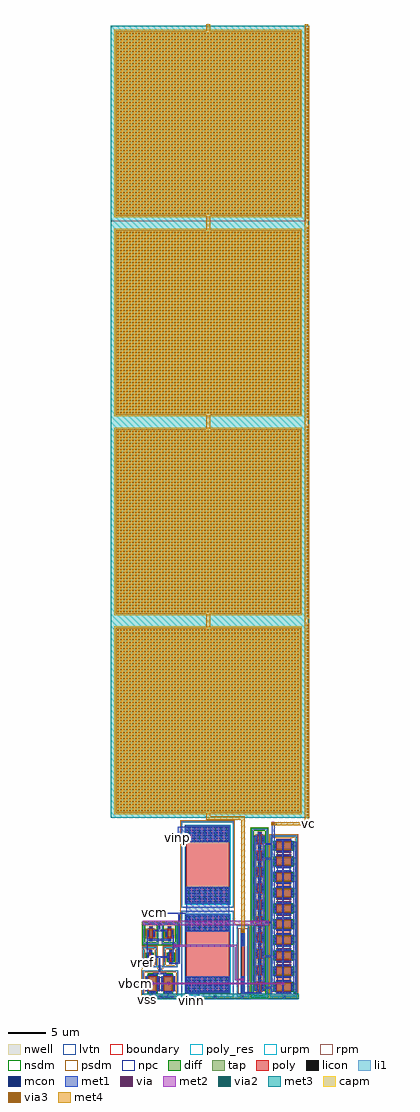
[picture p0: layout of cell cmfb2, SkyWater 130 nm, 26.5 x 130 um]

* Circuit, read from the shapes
.subckt cmfb2 vbcm vc vcm vdd vinn vinp vref vss
XM1 n1 vbcm vss vss sky130_fd_pr__nfet_01v8_lvt w=1 l=2 m=2
XM2 n1 vref n2 vss sky130_fd_pr__nfet_01v8_lvt w=1 l=0.25
XM3 n3 vcm n1 vss sky130_fd_pr__nfet_01v8_lvt w=1 l=0.25
XM4 vss vbcm vc vss sky130_fd_pr__nfet_01v8_lvt w=1 l=2 m=10
XM5 vdd n2 n2 vdd sky130_fd_pr__pfet_01v8_lvt w=1 l=0.5
XM6 n3 n2 vdd vdd sky130_fd_pr__pfet_01v8_lvt w=1 l=0.5
XM7 vc n3 vdd vdd sky130_fd_pr__pfet_01v8_lvt w=1 l=0.5 m=10
XC8 n4 vc sky130_fd_pr__cap_mim_m3_1 w=25 l=25 m=4
XR9 vcm vinn vss sky130_fd_pr__res_xhigh_po w=5.73 l=5.92
XR10 vinp vcm vss sky130_fd_pr__res_xhigh_po w=5.73 l=5.92
XR11 n4 n3 vss sky130_fd_pr__res_high_po w=0.35 l=4
.ends

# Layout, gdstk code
from math import pi, radians
import gdstk
lib = gdstk.Library(unit=1e-6, precision=1e-09)
def R(c, l, rs):  # rectangles x0, y0, x1, y1
    for r in rs: c.add(gdstk.rectangle(r[:2], r[2:], *l))
def A(c, l, x, y, w, h, nx, ny, dx, dy):  # array of equal rectangles
    R(c, l, [(x+i*dx, y+j*dy, x+i*dx+w, y+j*dy+h) for i in range(nx) for j in range(ny)])
nwell = (64, 20)
diff = (65, 20)
tap = (65, 44)
poly_res = (66, 13)
poly = (66, 20)
licon = (66, 44)
li1 = (67, 20)
mcon = (67, 44)
met1 = (68, 20)
via = (68, 44)
met2 = (69, 20)
via2 = (69, 44)
met3 = (70, 20)
via3 = (70, 44)
met4 = (71, 20)
urpm = (79, 20)
rpm = (86, 20)
capm = (89, 44)
nsdm = (93, 44)
psdm = (94, 20)
npc = (95, 20)
lvtn = (125, 44)
boundary = (235, 4)

sky130_fd_pr__pfet_01v8_ = lib.new_cell('sky130_fd_pr__pfet_01v8_lvt_X3YSY6')
R(sky130_fd_pr__pfet_01v8_, nwell, [(-1.23,-1.595,1.23,1.595)])
R(sky130_fd_pr__pfet_01v8_, diff, [(-0.54,-0.5,0.54,0.5)])
R(sky130_fd_pr__pfet_01v8_, tap, [(-1.05,-1.415,1.05,-1.245), (-1.05,-1.245,-0.88,1.245), (0.88,-1.245,1.05,1.245), (-1.05,1.245,1.05,1.415)])
R(sky130_fd_pr__pfet_01v8_, poly, [(-0.25,-0.985,0.25,0.985)])
A(sky130_fd_pr__pfet_01v8_, licon, -0.425, -1.415, 0.17, 0.17, 3, 2, 0.34, 2.66)
A(sky130_fd_pr__pfet_01v8_, licon, -1.05, -0.935, 0.17, 0.17, 1, 6, 0, 0.34)
A(sky130_fd_pr__pfet_01v8_, licon, 0.88, -0.935, 0.17, 0.17, 1, 6, 0, 0.34)
A(sky130_fd_pr__pfet_01v8_, licon, -0.48, -0.425, 0.17, 0.17, 1, 3, 0, 0.34)
A(sky130_fd_pr__pfet_01v8_, licon, 0.31, -0.425, 0.17, 0.17, 1, 3, 0, 0.34)
R(sky130_fd_pr__pfet_01v8_, licon, [(-0.085,-0.905,0.085,-0.735), (-0.085,0.735,0.085,0.905)])
R(sky130_fd_pr__pfet_01v8_, li1, [(-1.05,-1.415,1.05,-1.245), (-1.05,-1.245,-0.88,1.245), (0.88,-1.245,1.05,1.245), (-0.25,-0.905,0.25,-0.735), (-0.48,-0.52,-0.31,0.52), (0.31,-0.52,0.48,0.52), (-0.25,0.735,0.25,0.905), (-1.05,1.245,1.05,1.415)])
R(sky130_fd_pr__pfet_01v8_, mcon, [(-0.085,-0.905,0.085,-0.735), (-0.48,-0.265,-0.31,-0.095), (0.31,-0.265,0.48,-0.095), (-0.48,0.095,-0.31,0.265), (0.31,0.095,0.48,0.265), (-0.085,0.735,0.085,0.905)])
R(sky130_fd_pr__pfet_01v8_, met1, [(-0.23,-0.935,0.23,-0.705), (-0.51,-0.5,-0.28,0.5), (0.28,-0.5,0.51,0.5), (-0.23,0.705,0.23,0.935)])
R(sky130_fd_pr__pfet_01v8_, nsdm, [(-1.175,-1.54,1.175,-1.12), (-1.175,-1.12,-0.755,1.12), (0.755,-1.12,1.175,1.12), (-1.175,1.12,1.175,1.54)])
R(sky130_fd_pr__pfet_01v8_, psdm, [(-0.665,-0.625,0.665,0.625)])
R(sky130_fd_pr__pfet_01v8_, npc, [(-0.185,-1.005,0.185,-0.635), (-0.185,0.635,0.185,1.005)])
R(sky130_fd_pr__pfet_01v8_, lvtn, [(-0.43,-0.68,0.43,0.68)])
R(sky130_fd_pr__pfet_01v8_, boundary, [(-0.965,-1.33,0.965,1.33)])

sky130_fd_pr__nfet_01v8_ = lib.new_cell('sky130_fd_pr__nfet_01v8_lvt_BSMWRE')
R(sky130_fd_pr__nfet_01v8_, diff, [(-1.29,-1.545,1.29,-0.545), (-1.29,0.545,1.29,1.545)])
R(sky130_fd_pr__nfet_01v8_, tap, [(-1.8,-2.415,1.8,-2.245), (-1.8,-2.245,-1.63,2.245), (1.63,-2.245,1.8,2.245), (-1.8,2.245,1.8,2.415)])
R(sky130_fd_pr__nfet_01v8_, poly, [(-1,-1.985,1,-0.105), (-1,0.105,1,1.985)])
A(sky130_fd_pr__nfet_01v8_, licon, -1.275, -2.415, 0.17, 0.17, 8, 2, 0.34, 4.66)
A(sky130_fd_pr__nfet_01v8_, licon, -0.765, -1.905, 0.17, 0.17, 5, 2, 0.34, 1.55)
A(sky130_fd_pr__nfet_01v8_, licon, -1.8, -1.785, 0.17, 0.17, 1, 11, 0, 0.34)
A(sky130_fd_pr__nfet_01v8_, licon, 1.63, -1.785, 0.17, 0.17, 1, 11, 0, 0.34)
A(sky130_fd_pr__nfet_01v8_, licon, -1.23, -1.47, 0.17, 0.17, 1, 3, 0, 0.34)
A(sky130_fd_pr__nfet_01v8_, licon, 1.06, -1.47, 0.17, 0.17, 1, 3, 0, 0.34)
A(sky130_fd_pr__nfet_01v8_, licon, -0.765, 0.185, 0.17, 0.17, 5, 2, 0.34, 1.55)
A(sky130_fd_pr__nfet_01v8_, licon, -1.23, 0.62, 0.17, 0.17, 1, 3, 0, 0.34)
A(sky130_fd_pr__nfet_01v8_, licon, 1.06, 0.62, 0.17, 0.17, 1, 3, 0, 0.34)
R(sky130_fd_pr__nfet_01v8_, li1, [(-1.8,-2.415,1.8,-2.245), (-1.8,-2.245,-1.63,2.245), (1.63,-2.245,1.8,2.245), (-1,-1.905,1,-1.735), (-1.23,-1.565,-1.06,-0.525), (1.06,-1.565,1.23,-0.525), (-1,-0.355,1,-0.185), (-1,0.185,1,0.355), (-1.23,0.525,-1.06,1.565), (1.06,0.525,1.23,1.565), (-1,1.735,1,1.905), (-1.8,2.245,1.8,2.415)])
A(sky130_fd_pr__nfet_01v8_, mcon, -0.805, -1.905, 0.17, 0.17, 5, 2, 0.36, 1.55)
A(sky130_fd_pr__nfet_01v8_, mcon, -0.805, 0.185, 0.17, 0.17, 5, 2, 0.36, 1.55)
R(sky130_fd_pr__nfet_01v8_, mcon, [(-1.23,-1.31,-1.06,-1.14), (1.06,-1.31,1.23,-1.14), (-1.23,-0.95,-1.06,-0.78), (1.06,-0.95,1.23,-0.78), (-1.23,0.78,-1.06,0.95), (1.06,0.78,1.23,0.95), (-1.23,1.14,-1.06,1.31), (1.06,1.14,1.23,1.31)])
R(sky130_fd_pr__nfet_01v8_, met1, [(-0.98,-1.935,0.98,-1.705), (-1.26,-1.545,-1.03,-0.545), (1.03,-1.545,1.26,-0.545), (-0.98,-0.385,0.98,-0.155), (-0.98,0.155,0.98,0.385), (-1.26,0.545,-1.03,1.545), (1.03,0.545,1.26,1.545), (-0.98,1.705,0.98,1.935)])
R(sky130_fd_pr__nfet_01v8_, nsdm, [(-1.415,-1.67,1.415,-0.42), (-1.415,0.42,1.415,1.67)])
R(sky130_fd_pr__nfet_01v8_, psdm, [(-1.925,-2.54,1.925,-2.12), (-1.925,-2.12,-1.505,2.12), (1.505,-2.12,1.925,2.12), (-1.925,2.12,1.925,2.54)])
R(sky130_fd_pr__nfet_01v8_, npc, [(-0.865,-2.005,0.865,-1.635), (-0.865,-0.455,0.865,0.455), (-0.865,1.635,0.865,2.005)])
R(sky130_fd_pr__nfet_01v8_, lvtn, [(-1.18,-1.725,1.18,-0.365), (-1.18,0.365,1.18,1.725)])
R(sky130_fd_pr__nfet_01v8_, boundary, [(-1.715,-2.33,1.715,2.33)])

c_sky130_fd_pr__nfet_01v8_ = lib.new_cell('sky130_fd_pr__nfet_01v8_lvt_EA9ZG2')
R(c_sky130_fd_pr__nfet_01v8_, diff, [(-0.415,-0.5,0.415,0.5)])
R(c_sky130_fd_pr__nfet_01v8_, tap, [(-0.925,-1.37,0.925,-1.2), (-0.925,-1.2,-0.755,1.2), (0.755,-1.2,0.925,1.2), (-0.925,1.2,0.925,1.37)])
R(c_sky130_fd_pr__nfet_01v8_, poly, [(-0.165,-0.94,0.165,-0.61), (-0.125,-0.61,0.125,0.61), (-0.165,0.61,0.165,0.94)])
A(c_sky130_fd_pr__nfet_01v8_, licon, -0.425, -1.37, 0.17, 0.17, 3, 2, 0.34, 2.57)
A(c_sky130_fd_pr__nfet_01v8_, licon, -0.925, -0.765, 0.17, 0.17, 1, 5, 0, 0.34)
A(c_sky130_fd_pr__nfet_01v8_, licon, 0.755, -0.765, 0.17, 0.17, 1, 5, 0, 0.34)
A(c_sky130_fd_pr__nfet_01v8_, licon, -0.355, -0.425, 0.17, 0.17, 1, 3, 0, 0.34)
A(c_sky130_fd_pr__nfet_01v8_, licon, 0.185, -0.425, 0.17, 0.17, 1, 3, 0, 0.34)
R(c_sky130_fd_pr__nfet_01v8_, licon, [(-0.085,-0.86,0.085,-0.69), (-0.085,0.69,0.085,0.86)])
R(c_sky130_fd_pr__nfet_01v8_, li1, [(-0.925,-1.37,0.925,-1.2), (-0.925,-1.2,-0.755,1.2), (0.755,-1.2,0.925,1.2), (-0.165,-0.86,0.165,-0.69), (-0.355,-0.52,-0.185,0.52), (0.185,-0.52,0.355,0.52), (-0.165,0.69,0.165,0.86), (-0.925,1.2,0.925,1.37)])
R(c_sky130_fd_pr__nfet_01v8_, mcon, [(-0.085,-0.86,0.085,-0.69), (-0.355,-0.265,-0.185,-0.095), (0.185,-0.265,0.355,-0.095), (-0.355,0.095,-0.185,0.265), (0.185,0.095,0.355,0.265), (-0.085,0.69,0.085,0.86)])
R(c_sky130_fd_pr__nfet_01v8_, met1, [(-0.145,-0.89,0.145,-0.66), (-0.385,-0.5,-0.155,0.5), (0.155,-0.5,0.385,0.5), (-0.145,0.66,0.145,0.89)])
R(c_sky130_fd_pr__nfet_01v8_, nsdm, [(-0.54,-0.625,0.54,0.625)])
R(c_sky130_fd_pr__nfet_01v8_, psdm, [(-1.05,-1.495,1.05,-1.075), (-1.05,-1.075,-0.63,1.075), (0.63,-1.075,1.05,1.075), (-1.05,1.075,1.05,1.495)])
R(c_sky130_fd_pr__nfet_01v8_, npc, [(-0.185,-0.96,0.185,-0.59), (-0.185,0.59,0.185,0.96)])
R(c_sky130_fd_pr__nfet_01v8_, lvtn, [(-0.305,-0.68,0.305,0.68)])
R(c_sky130_fd_pr__nfet_01v8_, boundary, [(-0.84,-1.285,0.84,1.285)])

sky130_fd_pr__res_xhigh_ = lib.new_cell('sky130_fd_pr__res_xhigh_po_5p73_Q3K92U')
R(sky130_fd_pr__res_xhigh_, tap, [(-3.515,-5.77,3.515,-5.6), (-3.515,-5.6,-3.345,5.6), (3.345,-5.6,3.515,5.6), (-3.515,5.6,3.515,5.77)])
R(sky130_fd_pr__res_xhigh_, poly_res, [(-2.865,-3.02,2.865,3.02)])
R(sky130_fd_pr__res_xhigh_, poly, [(-2.865,-5.12,2.865,5.12)])
A(sky130_fd_pr__res_xhigh_, licon, -2.975, -5.77, 0.17, 0.17, 18, 2, 0.34, 11.37)
A(sky130_fd_pr__res_xhigh_, licon, -3.515, -5.185, 0.17, 0.17, 1, 31, 0, 0.34)
A(sky130_fd_pr__res_xhigh_, licon, 3.345, -5.185, 0.17, 0.17, 1, 31, 0, 0.34)
A(sky130_fd_pr__res_xhigh_, licon, -2.58, -5.04, 0.19, 2, 8, 2, 0.71, 8.08)
R(sky130_fd_pr__res_xhigh_, li1, [(-3.515,-5.77,3.515,-5.6), (-3.515,-5.6,-3.345,5.6), (3.345,-5.6,3.515,5.6), (-2.865,-5.12,2.865,-2.96), (-2.865,2.96,2.865,5.12), (-3.515,5.6,3.515,5.77)])
A(sky130_fd_pr__res_xhigh_, mcon, -2.785, -5.025, 0.17, 0.17, 16, 6, 0.36, 0.36)
A(sky130_fd_pr__res_xhigh_, mcon, -2.785, 3.05, 0.17, 0.17, 16, 6, 0.36, 0.36)
R(sky130_fd_pr__res_xhigh_, met1, [(-2.845,-5.06,2.845,-3.015), (-2.845,3.015,2.845,5.06)])
R(sky130_fd_pr__res_xhigh_, urpm, [(-3.065,-5.32,3.065,5.32)])
R(sky130_fd_pr__res_xhigh_, psdm, [(-3.64,-5.895,3.64,5.895)])
R(sky130_fd_pr__res_xhigh_, npc, [(-2.96,-5.215,2.96,5.215)])
R(sky130_fd_pr__res_xhigh_, boundary, [(-3.43,-5.685,3.43,5.685)])

sky130_fd_pr__res_high_p = lib.new_cell('sky130_fd_pr__res_high_po_0p35_ZMQPMJ')
R(sky130_fd_pr__res_high_p, tap, [(-0.825,-4.81,0.825,-4.64), (-0.825,-4.64,-0.655,4.64), (0.655,-4.64,0.825,4.64), (-0.825,4.64,0.825,4.81)])
R(sky130_fd_pr__res_high_p, poly_res, [(-0.175,-2.06,0.175,2.06)])
R(sky130_fd_pr__res_high_p, poly, [(-0.175,-4.16,0.175,4.16)])
A(sky130_fd_pr__res_high_p, licon, -0.825, -4.165, 0.17, 0.17, 1, 25, 0, 0.34)
A(sky130_fd_pr__res_high_p, licon, 0.655, -4.165, 0.17, 0.17, 1, 25, 0, 0.34)
R(sky130_fd_pr__res_high_p, licon, [(-0.255,-4.81,-0.085,-4.64), (0.085,-4.81,0.255,-4.64), (-0.095,-4.08,0.095,-2.08), (-0.095,2.08,0.095,4.08), (-0.255,4.64,-0.085,4.81), (0.085,4.64,0.255,4.81)])
R(sky130_fd_pr__res_high_p, li1, [(-0.825,-4.81,0.825,-4.64), (-0.825,-4.64,-0.655,4.64), (0.655,-4.64,0.825,4.64), (-0.175,-4.16,0.175,-2), (-0.175,2,0.175,4.16), (-0.825,4.64,0.825,4.81)])
A(sky130_fd_pr__res_high_p, mcon, -0.085, -4.065, 0.17, 0.17, 1, 6, 0, 0.36)
A(sky130_fd_pr__res_high_p, mcon, -0.085, 2.09, 0.17, 0.17, 1, 6, 0, 0.36)
R(sky130_fd_pr__res_high_p, met1, [(-0.125,-4.13,0.125,-2.025), (-0.125,2.025,0.125,4.13)])
R(sky130_fd_pr__res_high_p, rpm, [(-0.635,-4.36,0.635,4.36)])
R(sky130_fd_pr__res_high_p, psdm, [(-0.95,-4.935,0.95,4.935)])
R(sky130_fd_pr__res_high_p, npc, [(-0.27,-4.255,0.27,4.255)])
R(sky130_fd_pr__res_high_p, boundary, [(-0.74,-4.725,0.74,4.725)])

c_sky130_fd_pr__pfet_01v8_ = lib.new_cell('sky130_fd_pr__pfet_01v8_lvt_ER7KZU')
R(c_sky130_fd_pr__pfet_01v8_, nwell, [(-1.23,-11.405,1.23,11.405)])
A(c_sky130_fd_pr__pfet_01v8_, diff, -0.54, -10.31, 1.08, 1, 1, 10, 0, 2.18)
R(c_sky130_fd_pr__pfet_01v8_, tap, [(-1.05,-11.225,1.05,-11.055), (-1.05,-11.055,-0.88,11.055), (0.88,-11.055,1.05,11.055), (-1.05,11.055,1.05,11.225)])
A(c_sky130_fd_pr__pfet_01v8_, poly, -0.25, -10.795, 0.5, 1.97, 1, 10, 0, 2.18)
A(c_sky130_fd_pr__pfet_01v8_, licon, -0.425, -11.225, 0.17, 0.17, 3, 2, 0.34, 22.28)
A(c_sky130_fd_pr__pfet_01v8_, licon, -1.05, -10.625, 0.17, 0.17, 1, 63, 0, 0.34)
A(c_sky130_fd_pr__pfet_01v8_, licon, 0.88, -10.625, 0.17, 0.17, 1, 63, 0, 0.34)
A(c_sky130_fd_pr__pfet_01v8_, licon, -0.48, -10.235, 0.17, 0.17, 1, 3, 0, 0.34)
A(c_sky130_fd_pr__pfet_01v8_, licon, 0.31, -10.235, 0.17, 0.17, 1, 3, 0, 0.34)
A(c_sky130_fd_pr__pfet_01v8_, licon, -0.48, -8.055, 0.17, 0.17, 1, 3, 0, 0.34)
A(c_sky130_fd_pr__pfet_01v8_, licon, 0.31, -8.055, 0.17, 0.17, 1, 3, 0, 0.34)
A(c_sky130_fd_pr__pfet_01v8_, licon, -0.48, -5.875, 0.17, 0.17, 1, 3, 0, 0.34)
A(c_sky130_fd_pr__pfet_01v8_, licon, 0.31, -5.875, 0.17, 0.17, 1, 3, 0, 0.34)
A(c_sky130_fd_pr__pfet_01v8_, licon, -0.48, -3.695, 0.17, 0.17, 1, 3, 0, 0.34)
A(c_sky130_fd_pr__pfet_01v8_, licon, 0.31, -3.695, 0.17, 0.17, 1, 3, 0, 0.34)
A(c_sky130_fd_pr__pfet_01v8_, licon, -0.48, -1.515, 0.17, 0.17, 1, 3, 0, 0.34)
A(c_sky130_fd_pr__pfet_01v8_, licon, 0.31, -1.515, 0.17, 0.17, 1, 3, 0, 0.34)
A(c_sky130_fd_pr__pfet_01v8_, licon, -0.48, 0.665, 0.17, 0.17, 1, 3, 0, 0.34)
A(c_sky130_fd_pr__pfet_01v8_, licon, 0.31, 0.665, 0.17, 0.17, 1, 3, 0, 0.34)
A(c_sky130_fd_pr__pfet_01v8_, licon, -0.48, 2.845, 0.17, 0.17, 1, 3, 0, 0.34)
A(c_sky130_fd_pr__pfet_01v8_, licon, 0.31, 2.845, 0.17, 0.17, 1, 3, 0, 0.34)
A(c_sky130_fd_pr__pfet_01v8_, licon, -0.48, 5.025, 0.17, 0.17, 1, 3, 0, 0.34)
A(c_sky130_fd_pr__pfet_01v8_, licon, 0.31, 5.025, 0.17, 0.17, 1, 3, 0, 0.34)
A(c_sky130_fd_pr__pfet_01v8_, licon, -0.48, 7.205, 0.17, 0.17, 1, 3, 0, 0.34)
A(c_sky130_fd_pr__pfet_01v8_, licon, 0.31, 7.205, 0.17, 0.17, 1, 3, 0, 0.34)
A(c_sky130_fd_pr__pfet_01v8_, licon, -0.48, 9.385, 0.17, 0.17, 1, 3, 0, 0.34)
A(c_sky130_fd_pr__pfet_01v8_, licon, 0.31, 9.385, 0.17, 0.17, 1, 3, 0, 0.34)
R(c_sky130_fd_pr__pfet_01v8_, licon, [(-0.085,-10.715,0.085,-10.545), (-0.085,-9.075,0.085,-8.905), (-0.085,-8.535,0.085,-8.365), (-0.085,-6.895,0.085,-6.725), (-0.085,-6.355,0.085,-6.185), (-0.085,-4.715,0.085,-4.545), (-0.085,-4.175,0.085,-4.005), (-0.085,-2.535,0.085,-2.365), (-0.085,-1.995,0.085,-1.825), (-0.085,-0.355,0.085,-0.185), (-0.085,0.185,0.085,0.355), (-0.085,1.825,0.085,1.995), (-0.085,2.365,0.085,2.535), (-0.085,4.005,0.085,4.175), (-0.085,4.545,0.085,4.715), (-0.085,6.185,0.085,6.355), (-0.085,6.725,0.085,6.895), (-0.085,8.365,0.085,8.535), (-0.085,8.905,0.085,9.075), (-0.085,10.545,0.085,10.715)])
A(c_sky130_fd_pr__pfet_01v8_, li1, -0.48, -10.33, 0.17, 1.04, 1, 10, 0, 2.18)
A(c_sky130_fd_pr__pfet_01v8_, li1, 0.31, -10.33, 0.17, 1.04, 1, 10, 0, 2.18)
R(c_sky130_fd_pr__pfet_01v8_, li1, [(-1.05,-11.225,1.05,-11.055), (-1.05,-11.055,-0.88,11.055), (0.88,-11.055,1.05,11.055), (-0.25,-10.715,0.25,-10.545), (-0.25,-9.075,0.25,-8.905), (-0.25,-8.535,0.25,-8.365), (-0.25,-6.895,0.25,-6.725), (-0.25,-6.355,0.25,-6.185), (-0.25,-4.715,0.25,-4.545), (-0.25,-4.175,0.25,-4.005), (-0.25,-2.535,0.25,-2.365), (-0.25,-1.995,0.25,-1.825), (-0.25,-0.355,0.25,-0.185), (-0.25,0.185,0.25,0.355), (-0.25,1.825,0.25,1.995), (-0.25,2.365,0.25,2.535), (-0.25,4.005,0.25,4.175), (-0.25,4.545,0.25,4.715), (-0.25,6.185,0.25,6.355), (-0.25,6.725,0.25,6.895), (-0.25,8.365,0.25,8.535), (-0.25,8.905,0.25,9.075), (-0.25,10.545,0.25,10.715), (-1.05,11.055,1.05,11.225)])
R(c_sky130_fd_pr__pfet_01v8_, mcon, [(-0.085,-10.715,0.085,-10.545), (-0.48,-10.075,-0.31,-9.905), (0.31,-10.075,0.48,-9.905), (-0.48,-9.715,-0.31,-9.545), (0.31,-9.715,0.48,-9.545), (-0.085,-9.075,0.085,-8.905), (-0.085,-8.535,0.085,-8.365), (-0.48,-7.895,-0.31,-7.725), (0.31,-7.895,0.48,-7.725), (-0.48,-7.535,-0.31,-7.365), (0.31,-7.535,0.48,-7.365), (-0.085,-6.895,0.085,-6.725), (-0.085,-6.355,0.085,-6.185), (-0.48,-5.715,-0.31,-5.545), (0.31,-5.715,0.48,-5.545), (-0.48,-5.355,-0.31,-5.185), (0.31,-5.355,0.48,-5.185), (-0.085,-4.715,0.085,-4.545), (-0.085,-4.175,0.085,-4.005), (-0.48,-3.535,-0.31,-3.365), (0.31,-3.535,0.48,-3.365), (-0.48,-3.175,-0.31,-3.005), (0.31,-3.175,0.48,-3.005), (-0.085,-2.535,0.085,-2.365), (-0.085,-1.995,0.085,-1.825), (-0.48,-1.355,-0.31,-1.185), (0.31,-1.355,0.48,-1.185), (-0.48,-0.995,-0.31,-0.825), (0.31,-0.995,0.48,-0.825), (-0.085,-0.355,0.085,-0.185), (-0.085,0.185,0.085,0.355), (-0.48,0.825,-0.31,0.995), (0.31,0.825,0.48,0.995), (-0.48,1.185,-0.31,1.355), (0.31,1.185,0.48,1.355), (-0.085,1.825,0.085,1.995), (-0.085,2.365,0.085,2.535), (-0.48,3.005,-0.31,3.175), (0.31,3.005,0.48,3.175), (-0.48,3.365,-0.31,3.535), (0.31,3.365,0.48,3.535), (-0.085,4.005,0.085,4.175), (-0.085,4.545,0.085,4.715), (-0.48,5.185,-0.31,5.355), (0.31,5.185,0.48,5.355), (-0.48,5.545,-0.31,5.715), (0.31,5.545,0.48,5.715), (-0.085,6.185,0.085,6.355), (-0.085,6.725,0.085,6.895), (-0.48,7.365,-0.31,7.535), (0.31,7.365,0.48,7.535), (-0.48,7.725,-0.31,7.895), (0.31,7.725,0.48,7.895), (-0.085,8.365,0.085,8.535), (-0.085,8.905,0.085,9.075), (-0.48,9.545,-0.31,9.715), (0.31,9.545,0.48,9.715), (-0.48,9.905,-0.31,10.075), (0.31,9.905,0.48,10.075), (-0.085,10.545,0.085,10.715)])
A(c_sky130_fd_pr__pfet_01v8_, met1, -0.51, -10.31, 0.23, 1, 1, 10, 0, 2.18)
A(c_sky130_fd_pr__pfet_01v8_, met1, 0.28, -10.31, 0.23, 1, 1, 10, 0, 2.18)
R(c_sky130_fd_pr__pfet_01v8_, met1, [(-0.23,-10.745,0.23,-10.515), (-0.23,-9.105,0.23,-8.875), (-0.23,-8.565,0.23,-8.335), (-0.23,-6.925,0.23,-6.695), (-0.23,-6.385,0.23,-6.155), (-0.23,-4.745,0.23,-4.515), (-0.23,-4.205,0.23,-3.975), (-0.23,-2.565,0.23,-2.335), (-0.23,-2.025,0.23,-1.795), (-0.23,-0.385,0.23,-0.155), (-0.23,0.155,0.23,0.385), (-0.23,1.795,0.23,2.025), (-0.23,2.335,0.23,2.565), (-0.23,3.975,0.23,4.205), (-0.23,4.515,0.23,4.745), (-0.23,6.155,0.23,6.385), (-0.23,6.695,0.23,6.925), (-0.23,8.335,0.23,8.565), (-0.23,8.875,0.23,9.105), (-0.23,10.515,0.23,10.745)])
R(c_sky130_fd_pr__pfet_01v8_, nsdm, [(-1.175,-11.35,1.175,-10.93), (-1.175,-10.93,-0.755,10.93), (0.755,-10.93,1.175,10.93), (-1.175,10.93,1.175,11.35)])
A(c_sky130_fd_pr__pfet_01v8_, psdm, -0.665, -10.435, 1.33, 1.25, 1, 10, 0, 2.18)
A(c_sky130_fd_pr__pfet_01v8_, npc, -0.185, -9.175, 0.37, 0.91, 1, 9, 0, 2.18)
R(c_sky130_fd_pr__pfet_01v8_, npc, [(-0.185,-10.815,0.185,-10.445), (-0.185,10.445,0.185,10.815)])
A(c_sky130_fd_pr__pfet_01v8_, lvtn, -0.43, -10.49, 0.86, 1.36, 1, 10, 0, 2.18)
R(c_sky130_fd_pr__pfet_01v8_, boundary, [(-0.965,-11.14,0.965,11.14)])

c_sky130_fd_pr__nfet_01v8__ = lib.new_cell('sky130_fd_pr__nfet_01v8_lvt_F8HAAN')
A(c_sky130_fd_pr__nfet_01v8__, diff, -1.29, -9.905, 2.58, 1, 1, 10, 0, 2.09)
R(c_sky130_fd_pr__nfet_01v8__, tap, [(-1.8,-10.775,1.8,-10.605), (-1.8,-10.605,-1.63,10.605), (1.63,-10.605,1.8,10.605), (-1.8,10.605,1.8,10.775)])
A(c_sky130_fd_pr__nfet_01v8__, poly, -1, -10.345, 2, 1.88, 1, 10, 0, 2.09)
A(c_sky130_fd_pr__nfet_01v8__, licon, -1.275, -10.775, 0.17, 0.17, 8, 2, 0.34, 21.38)
A(c_sky130_fd_pr__nfet_01v8__, licon, -1.8, -10.285, 0.17, 0.17, 1, 61, 0, 0.34)
A(c_sky130_fd_pr__nfet_01v8__, licon, 1.63, -10.285, 0.17, 0.17, 1, 61, 0, 0.34)
A(c_sky130_fd_pr__nfet_01v8__, licon, -0.765, -10.265, 0.17, 0.17, 5, 2, 0.34, 1.55)
A(c_sky130_fd_pr__nfet_01v8__, licon, -1.23, -9.83, 0.17, 0.17, 1, 3, 0, 0.34)
A(c_sky130_fd_pr__nfet_01v8__, licon, 1.06, -9.83, 0.17, 0.17, 1, 3, 0, 0.34)
A(c_sky130_fd_pr__nfet_01v8__, licon, -0.765, -8.175, 0.17, 0.17, 5, 2, 0.34, 1.55)
A(c_sky130_fd_pr__nfet_01v8__, licon, -1.23, -7.74, 0.17, 0.17, 1, 3, 0, 0.34)
A(c_sky130_fd_pr__nfet_01v8__, licon, 1.06, -7.74, 0.17, 0.17, 1, 3, 0, 0.34)
A(c_sky130_fd_pr__nfet_01v8__, licon, -0.765, -6.085, 0.17, 0.17, 5, 2, 0.34, 1.55)
A(c_sky130_fd_pr__nfet_01v8__, licon, -1.23, -5.65, 0.17, 0.17, 1, 3, 0, 0.34)
A(c_sky130_fd_pr__nfet_01v8__, licon, 1.06, -5.65, 0.17, 0.17, 1, 3, 0, 0.34)
A(c_sky130_fd_pr__nfet_01v8__, licon, -0.765, -3.995, 0.17, 0.17, 5, 2, 0.34, 1.55)
A(c_sky130_fd_pr__nfet_01v8__, licon, -1.23, -3.56, 0.17, 0.17, 1, 3, 0, 0.34)
A(c_sky130_fd_pr__nfet_01v8__, licon, 1.06, -3.56, 0.17, 0.17, 1, 3, 0, 0.34)
A(c_sky130_fd_pr__nfet_01v8__, licon, -0.765, -1.905, 0.17, 0.17, 5, 2, 0.34, 1.55)
A(c_sky130_fd_pr__nfet_01v8__, licon, -1.23, -1.47, 0.17, 0.17, 1, 3, 0, 0.34)
A(c_sky130_fd_pr__nfet_01v8__, licon, 1.06, -1.47, 0.17, 0.17, 1, 3, 0, 0.34)
A(c_sky130_fd_pr__nfet_01v8__, licon, -0.765, 0.185, 0.17, 0.17, 5, 2, 0.34, 1.55)
A(c_sky130_fd_pr__nfet_01v8__, licon, -1.23, 0.62, 0.17, 0.17, 1, 3, 0, 0.34)
A(c_sky130_fd_pr__nfet_01v8__, licon, 1.06, 0.62, 0.17, 0.17, 1, 3, 0, 0.34)
A(c_sky130_fd_pr__nfet_01v8__, licon, -0.765, 2.275, 0.17, 0.17, 5, 2, 0.34, 1.55)
A(c_sky130_fd_pr__nfet_01v8__, licon, -1.23, 2.71, 0.17, 0.17, 1, 3, 0, 0.34)
A(c_sky130_fd_pr__nfet_01v8__, licon, 1.06, 2.71, 0.17, 0.17, 1, 3, 0, 0.34)
A(c_sky130_fd_pr__nfet_01v8__, licon, -0.765, 4.365, 0.17, 0.17, 5, 2, 0.34, 1.55)
A(c_sky130_fd_pr__nfet_01v8__, licon, -1.23, 4.8, 0.17, 0.17, 1, 3, 0, 0.34)
A(c_sky130_fd_pr__nfet_01v8__, licon, 1.06, 4.8, 0.17, 0.17, 1, 3, 0, 0.34)
A(c_sky130_fd_pr__nfet_01v8__, licon, -0.765, 6.455, 0.17, 0.17, 5, 2, 0.34, 1.55)
A(c_sky130_fd_pr__nfet_01v8__, licon, -1.23, 6.89, 0.17, 0.17, 1, 3, 0, 0.34)
A(c_sky130_fd_pr__nfet_01v8__, licon, 1.06, 6.89, 0.17, 0.17, 1, 3, 0, 0.34)
A(c_sky130_fd_pr__nfet_01v8__, licon, -0.765, 8.545, 0.17, 0.17, 5, 2, 0.34, 1.55)
A(c_sky130_fd_pr__nfet_01v8__, licon, -1.23, 8.98, 0.17, 0.17, 1, 3, 0, 0.34)
A(c_sky130_fd_pr__nfet_01v8__, licon, 1.06, 8.98, 0.17, 0.17, 1, 3, 0, 0.34)
A(c_sky130_fd_pr__nfet_01v8__, li1, -1.23, -9.925, 0.17, 1.04, 1, 10, 0, 2.09)
A(c_sky130_fd_pr__nfet_01v8__, li1, 1.06, -9.925, 0.17, 1.04, 1, 10, 0, 2.09)
R(c_sky130_fd_pr__nfet_01v8__, li1, [(-1.8,-10.775,1.8,-10.605), (-1.8,-10.605,-1.63,10.605), (1.63,-10.605,1.8,10.605), (-1,-10.265,1,-10.095), (-1,-8.715,1,-8.545), (-1,-8.175,1,-8.005), (-1,-6.625,1,-6.455), (-1,-6.085,1,-5.915), (-1,-4.535,1,-4.365), (-1,-3.995,1,-3.825), (-1,-2.445,1,-2.275), (-1,-1.905,1,-1.735), (-1,-0.355,1,-0.185), (-1,0.185,1,0.355), (-1,1.735,1,1.905), (-1,2.275,1,2.445), (-1,3.825,1,3.995), (-1,4.365,1,4.535), (-1,5.915,1,6.085), (-1,6.455,1,6.625), (-1,8.005,1,8.175), (-1,8.545,1,8.715), (-1,10.095,1,10.265), (-1.8,10.605,1.8,10.775)])
A(c_sky130_fd_pr__nfet_01v8__, mcon, -0.805, -10.265, 0.17, 0.17, 5, 2, 0.36, 1.55)
A(c_sky130_fd_pr__nfet_01v8__, mcon, -0.805, -8.175, 0.17, 0.17, 5, 2, 0.36, 1.55)
A(c_sky130_fd_pr__nfet_01v8__, mcon, -0.805, -6.085, 0.17, 0.17, 5, 2, 0.36, 1.55)
A(c_sky130_fd_pr__nfet_01v8__, mcon, -0.805, -3.995, 0.17, 0.17, 5, 2, 0.36, 1.55)
A(c_sky130_fd_pr__nfet_01v8__, mcon, -0.805, -1.905, 0.17, 0.17, 5, 2, 0.36, 1.55)
A(c_sky130_fd_pr__nfet_01v8__, mcon, -0.805, 0.185, 0.17, 0.17, 5, 2, 0.36, 1.55)
A(c_sky130_fd_pr__nfet_01v8__, mcon, -0.805, 2.275, 0.17, 0.17, 5, 2, 0.36, 1.55)
A(c_sky130_fd_pr__nfet_01v8__, mcon, -0.805, 4.365, 0.17, 0.17, 5, 2, 0.36, 1.55)
A(c_sky130_fd_pr__nfet_01v8__, mcon, -0.805, 6.455, 0.17, 0.17, 5, 2, 0.36, 1.55)
A(c_sky130_fd_pr__nfet_01v8__, mcon, -0.805, 8.545, 0.17, 0.17, 5, 2, 0.36, 1.55)
R(c_sky130_fd_pr__nfet_01v8__, mcon, [(-1.23,-9.67,-1.06,-9.5), (1.06,-9.67,1.23,-9.5), (-1.23,-9.31,-1.06,-9.14), (1.06,-9.31,1.23,-9.14), (-1.23,-7.58,-1.06,-7.41), (1.06,-7.58,1.23,-7.41), (-1.23,-7.22,-1.06,-7.05), (1.06,-7.22,1.23,-7.05), (-1.23,-5.49,-1.06,-5.32), (1.06,-5.49,1.23,-5.32), (-1.23,-5.13,-1.06,-4.96), (1.06,-5.13,1.23,-4.96), (-1.23,-3.4,-1.06,-3.23), (1.06,-3.4,1.23,-3.23), (-1.23,-3.04,-1.06,-2.87), (1.06,-3.04,1.23,-2.87), (-1.23,-1.31,-1.06,-1.14), (1.06,-1.31,1.23,-1.14), (-1.23,-0.95,-1.06,-0.78), (1.06,-0.95,1.23,-0.78), (-1.23,0.78,-1.06,0.95), (1.06,0.78,1.23,0.95), (-1.23,1.14,-1.06,1.31), (1.06,1.14,1.23,1.31), (-1.23,2.87,-1.06,3.04), (1.06,2.87,1.23,3.04), (-1.23,3.23,-1.06,3.4), (1.06,3.23,1.23,3.4), (-1.23,4.96,-1.06,5.13), (1.06,4.96,1.23,5.13), (-1.23,5.32,-1.06,5.49), (1.06,5.32,1.23,5.49), (-1.23,7.05,-1.06,7.22), (1.06,7.05,1.23,7.22), (-1.23,7.41,-1.06,7.58), (1.06,7.41,1.23,7.58), (-1.23,9.14,-1.06,9.31), (1.06,9.14,1.23,9.31), (-1.23,9.5,-1.06,9.67), (1.06,9.5,1.23,9.67)])
A(c_sky130_fd_pr__nfet_01v8__, met1, -1.26, -9.905, 0.23, 1, 1, 10, 0, 2.09)
A(c_sky130_fd_pr__nfet_01v8__, met1, 1.03, -9.905, 0.23, 1, 1, 10, 0, 2.09)
R(c_sky130_fd_pr__nfet_01v8__, met1, [(-0.98,-10.295,0.98,-10.065), (-0.98,-8.745,0.98,-8.515), (-0.98,-8.205,0.98,-7.975), (-0.98,-6.655,0.98,-6.425), (-0.98,-6.115,0.98,-5.885), (-0.98,-4.565,0.98,-4.335), (-0.98,-4.025,0.98,-3.795), (-0.98,-2.475,0.98,-2.245), (-0.98,-1.935,0.98,-1.705), (-0.98,-0.385,0.98,-0.155), (-0.98,0.155,0.98,0.385), (-0.98,1.705,0.98,1.935), (-0.98,2.245,0.98,2.475), (-0.98,3.795,0.98,4.025), (-0.98,4.335,0.98,4.565), (-0.98,5.885,0.98,6.115), (-0.98,6.425,0.98,6.655), (-0.98,7.975,0.98,8.205), (-0.98,8.515,0.98,8.745), (-0.98,10.065,0.98,10.295)])
A(c_sky130_fd_pr__nfet_01v8__, nsdm, -1.415, -10.03, 2.83, 1.25, 1, 10, 0, 2.09)
R(c_sky130_fd_pr__nfet_01v8__, psdm, [(-1.925,-10.9,1.925,-10.48), (-1.925,-10.48,-1.505,10.48), (1.505,-10.48,1.925,10.48), (-1.925,10.48,1.925,10.9)])
A(c_sky130_fd_pr__nfet_01v8__, npc, -0.865, -8.815, 1.73, 0.91, 1, 9, 0, 2.09)
R(c_sky130_fd_pr__nfet_01v8__, npc, [(-0.865,-10.365,0.865,-9.995), (-0.865,9.995,0.865,10.365)])
A(c_sky130_fd_pr__nfet_01v8__, lvtn, -1.18, -10.085, 2.36, 1.36, 1, 10, 0, 2.09)
R(c_sky130_fd_pr__nfet_01v8__, boundary, [(-1.715,-10.69,1.715,10.69)])

sky130_fd_pr__cap_mim_m3 = lib.new_cell('sky130_fd_pr__cap_mim_m3_1_L4YDVW')
A(sky130_fd_pr__cap_mim_m3, met3, -13.25, -52.75, 26.495, 26, 1, 4, 0, 26.5)
A(sky130_fd_pr__cap_mim_m3, via3, 12.885, -52.45, 0.2, 0.2, 1, 64, 0, 0.4)
A(sky130_fd_pr__cap_mim_m3, via3, -12.35, -51.85, 0.2, 0.2, 61, 61, 0.4, 0.4)
A(sky130_fd_pr__cap_mim_m3, via3, 12.885, -25.95, 0.2, 0.2, 1, 64, 0, 0.4)
A(sky130_fd_pr__cap_mim_m3, via3, -12.35, -25.35, 0.2, 0.2, 61, 61, 0.4, 0.4)
A(sky130_fd_pr__cap_mim_m3, via3, 12.885, 0.55, 0.2, 0.2, 1, 64, 0, 0.4)
A(sky130_fd_pr__cap_mim_m3, via3, -12.35, 1.15, 0.2, 0.2, 61, 61, 0.4, 0.4)
A(sky130_fd_pr__cap_mim_m3, via3, 12.885, 27.05, 0.2, 0.2, 1, 64, 0, 0.4)
A(sky130_fd_pr__cap_mim_m3, via3, -12.35, 27.65, 0.2, 0.2, 61, 61, 0.4, 0.4)
A(sky130_fd_pr__cap_mim_m3, met4, 12.59, -52.69, 0.635, 25.88, 1, 4, 0, 26.5)
A(sky130_fd_pr__cap_mim_m3, met4, -12.555, -52.055, 24.61, 24.61, 1, 4, 0, 26.5)
A(sky130_fd_pr__cap_mim_m3, met4, -0.51, -27.445, 0.52, 1.89, 1, 3, 0, 26.5)
A(sky130_fd_pr__cap_mim_m3, met4, 12.59, -26.81, 0.52, 0.62, 1, 3, 0, 26.5)
R(sky130_fd_pr__cap_mim_m3, met4, [(-0.51,-53,0.01,-52.055), (12.59,-53,13.11,-52.69), (-0.51,52.055,0.01,53), (12.59,52.69,13.11,53)])
A(sky130_fd_pr__cap_mim_m3, capm, -12.75, -52.25, 25, 25, 1, 4, 0, 26.5)
R(sky130_fd_pr__cap_mim_m3, boundary, [(-13.25,26.75,12.75,52.75)])

cmfb2 = lib.new_cell('cmfb2')
R(cmfb2, li1, [(-34.35,-38.5,-34.07,-38.22), (-27.1,-38.5,-26.82,-38.22), (-23.5,-38.5,-23.22,-38.22), (-17.9,-38.5,-17.62,-38.22), (-34.3,-34.85,-34.1,-34.45), (-34.75,-34.45,-33.8,-34.25), (-35.75,-28.75,-35.47,-28.47), (-33.25,-28.75,-32.97,-28.47), (-22.15,-28.6,-21.87,-28.32)])
R(cmfb2, mcon, [(-34.295,-38.445,-34.125,-38.275), (-27.045,-38.445,-26.875,-38.275), (-23.445,-38.445,-23.275,-38.275), (-17.845,-38.445,-17.675,-38.275), (-35.695,-28.695,-35.525,-28.525), (-33.195,-28.695,-33.025,-28.525), (-22.095,-28.545,-21.925,-28.375)])
R(cmfb2, met1, [(-30.7,-38.8,-29.1,-35.75), (-34.41,-38.53,-34.01,-38.5), (-27.16,-38.53,-26.76,-38.19), (-23.56,-38.53,-23.16,-38.19), (-17.96,-38.53,-17.56,-38.19), (-36,-38.5,-32.55,-38.3), (-35.5,-38.3,-35.3,-37.85), (-34.41,-38.3,-34.01,-38.19), (-33.35,-38.3,-33.15,-37.8), (-16.57,-38,-16.17,-37.72), (-23.4,-37.95,-21.2,-37.75), (-21.15,-37.8,-20.95,-16.65), (-18.05,-37.75,-17.8,-36.75), (-16.57,-37.72,-16.22,-17.75), (-19.4,-37.7,-19.05,-37.3), (-34.5,-37.6,-34.45,-36.7), (-34.15,-37.6,-34,-36.7), (-21.75,-37.55,-21.5,-28.63), (-20.6,-37.55,-20.35,-37.3), (-20.6,-37.3,-19,-37.05), (-20.6,-37.05,-20.35,-33.1), (-19.4,-37.05,-19.05,-33.1), (-18.1,-36.75,-17.74,-36.5), (-37.55,-36.7,-32.5,-36.5), (-35.45,-36.5,-35.09,-36.44), (-34.5,-36.5,-34.45,-35.65), (-34.15,-36.5,-34,-35.65), (-33.35,-36.5,-32.99,-36.44), (-18.1,-36.5,-17.6,-36.4), (-18.05,-36.4,-17.8,-17.5), (-23.5,-36.2,-23.14,-35.94), (-35.2,-35.4,-33.45,-35.2), (-34.45,-35.2,-34.25,-33.2), (-36.6,-34,-35.5,-33.75), (-33.1,-34,-32.75,-33.98), (-33.1,-33.98,-31.7,-33.83), (-33.1,-33.83,-32.75,-33.75), (-31.85,-33.83,-31.7,-27.3), (-35.3,-33.2,-33.2,-33), (-20.6,-33.1,-19,-32.85), (-36.1,-33,-36,-32.6), (-32.6,-32.9,-32.45,-31.7), (-20.6,-32.85,-20.35,-28.6), (-19.4,-32.85,-19.05,-28.6), (-36.1,-32.6,-35.95,-30.9), (-35.75,-32.45,-35.35,-32.2), (-33.1,-32.45,-32.75,-32.2), (-32.6,-31.7,-32.14,-31.44), (-32.6,-31.44,-32.45,-30.1), (-36.1,-30.9,-32.85,-30.65), (-36.1,-30.65,-35.95,-30.45), (-36.1,-30.45,-36,-30.3), (-23.5,-29.8,-23.08,-29.48), (-35.05,-29.65,-33.5,-29.45), (-34.45,-29.45,-34.25,-28.75), (-35.81,-28.78,-35.41,-28.44), (-33.31,-28.78,-32.91,-28.44), (-34.55,-28.75,-34.17,-28.47), (-22.21,-28.63,-21.5,-28.55), (-20.6,-28.6,-19,-28.35), (-22.21,-28.55,-21.29,-28.29), (-20.6,-28.35,-20.35,-20.1), (-19.4,-28.35,-19.05,-20.1), (-21.75,-28.29,-21.5,-16.9), (-30.8,-28.05,-25.1,-27.3), (-35.05,-27.3,-25.1,-27.15), (-30.8,-27.15,-25.1,-25.55), (-20.6,-20.1,-19,-19.85), (-20.6,-19.85,-20.35,-18.15), (-19.4,-19.85,-19.05,-18.15), (-20.6,-18.15,-19.05,-17.9), (-20.6,-17.9,-20.35,-16.9), (-19.4,-17.9,-19.05,-15.45), (-31.97,-17.745,-30.805,-15.7), (-19.45,-15.45,-19.03,-15.13)])
A(cmfb2, via, -35.685, -28.685, 0.15, 0.15, 3, 1, 1.25, 0)
R(cmfb2, via, [(-34.285,-38.435,-34.135,-38.285), (-27.035,-38.435,-26.885,-38.285), (-23.435,-38.435,-23.285,-38.285), (-17.835,-38.435,-17.685,-38.285), (-16.435,-37.935,-16.285,-37.785), (-17.995,-36.695,-17.845,-36.545), (-35.345,-36.645,-35.195,-36.495), (-33.245,-36.645,-33.095,-36.495), (-23.395,-36.145,-23.245,-35.995), (-32.395,-31.645,-32.245,-31.495), (-23.365,-29.715,-23.215,-29.565), (-22.085,-28.535,-21.935,-28.385), (-21.545,-28.495,-21.395,-28.345), (-19.315,-15.365,-19.165,-15.215)])
R(cmfb2, met2, [(-34.35,-38.55,-34.07,-38.17), (-27.1,-38.55,-26.82,-38.17), (-23.5,-38.55,-23.22,-38.17), (-17.9,-38.55,-17.62,-38.17), (-16.5,-38.05,-16.22,-37.67), (-18.05,-36.8,-17.79,-36.7), (-35.4,-36.75,-35.14,-36.7), (-33.3,-36.75,-33.04,-36.7), (-35.5,-36.7,-17.75,-36.5), (-35.4,-36.5,-35.14,-36.39), (-33.3,-36.5,-33.04,-36.39), (-18.05,-36.5,-17.79,-36.44), (-23.45,-36.25,-23.19,-36.2), (-24.35,-36.2,-23.19,-35.95), (-24.35,-35.95,-24.1,-31.7), (-23.45,-35.95,-23.19,-35.89), (-32.45,-31.75,-32.19,-31.7), (-32.45,-31.7,-24.1,-31.45), (-32.45,-31.45,-32.19,-31.39), (-23.45,-29.85,-23.13,-29.43), (-36.6,-28.85,-19.85,-28.25), (-21.6,-28.25,-21.34,-28.24), (-19.4,-15.5,-19.08,-15.08)])
R(cmfb2, via2, [(-34.31,-38.46,-34.11,-38.26), (-27.06,-38.46,-26.86,-38.26), (-23.46,-38.46,-23.26,-38.26), (-17.86,-38.46,-17.66,-38.26), (-16.46,-37.96,-16.26,-37.76), (-23.39,-29.74,-23.19,-29.54), (-19.34,-15.39,-19.14,-15.19)])
R(cmfb2, met3, [(-36.7,-38.7,-15.85,-38), (-16.55,-38,-16.17,-37.695), (-23.5,-29.85,-23.05,-29.15), (-19.5,-15.5,-18.75,-15.1), (-40.9,-14.3,-14.405,85.7)])
R(cmfb2, via3, [(-23.39,-29.74,-23.19,-29.54), (-19.34,-15.39,-19.14,-15.19)])
R(cmfb2, met4, [(-23.5,-29.85,-23.05,-14.8), (-19.5,-15.5,-14.54,-15.1), (-15.04,-15.1,-14.54,-14.8), (-27.75,-14.8,-23.05,-14.35)])
R(cmfb2, nsdm, [(-34.345,-31.495,-34.235,-28.415)])
R(cmfb2, psdm, [(-31.725,-38.555,-31.615,-34.705), (-24.335,-38.555,-24.225,-28.685), (-36.705,-34.705,-34.605,-34.595), (-33.945,-34.705,-31.615,-34.595), (-31.845,-34.595,-31.615,-31.605), (-31.615,-26.765,-24.335,-26.655)])
cmfb2.add(gdstk.Reference(sky130_fd_pr__pfet_01v8_, (-35.52,-29.955)))
cmfb2.add(gdstk.Reference(sky130_fd_pr__pfet_01v8_, (-33.06,-29.955)))
cmfb2.add(gdstk.Reference(sky130_fd_pr__nfet_01v8_, (-34.265,-36.63), rotation=3*pi/2))
cmfb2.add(gdstk.Reference(c_sky130_fd_pr__nfet_01v8_, (-32.895,-33.1)))
cmfb2.add(gdstk.Reference(c_sky130_fd_pr__nfet_01v8_, (-35.655,-33.1)))
cmfb2.add(gdstk.Reference(sky130_fd_pr__res_xhigh_, (-27.975,-20.76)))
cmfb2.add(gdstk.Reference(sky130_fd_pr__res_xhigh_, (-27.975,-32.66)))
cmfb2.add(gdstk.Reference(sky130_fd_pr__res_high_p, (-23.275,-33.62)))
cmfb2.add(gdstk.Reference(c_sky130_fd_pr__pfet_01v8_, (-21.04,-27.205)))
cmfb2.add(gdstk.Reference(c_sky130_fd_pr__nfet_01v8__, (-17.83,-27.655)))
cmfb2.add(gdstk.Reference(sky130_fd_pr__cap_mim_m3, (-27.65,38.2)))
cmfb2.add(gdstk.Label('vcm', (-35.05,-27.2), layer=68, texttype=5))
cmfb2.add(gdstk.Label('vinp', (-31.97,-17.1), layer=68, texttype=16))
cmfb2.add(gdstk.Label('vinn', (-30.1,-38.8), layer=68, texttype=16))
cmfb2.add(gdstk.Label('vref', (-36.6,-33.85), layer=68, texttype=16))
cmfb2.add(gdstk.Label('vc', (-14.54,-15.35), layer=71, texttype=16))
cmfb2.add(gdstk.Label('vbcm', (-37.55,-36.6), layer=68, texttype=16))
cmfb2.add(gdstk.Label('vss', (-35.94,-38.7), layer=70, texttype=16))
cmfb2.add(gdstk.Label('vdd', (-36.5,-28.25), layer=69, texttype=16))

lib.write_gds('cmfb2.gds')
